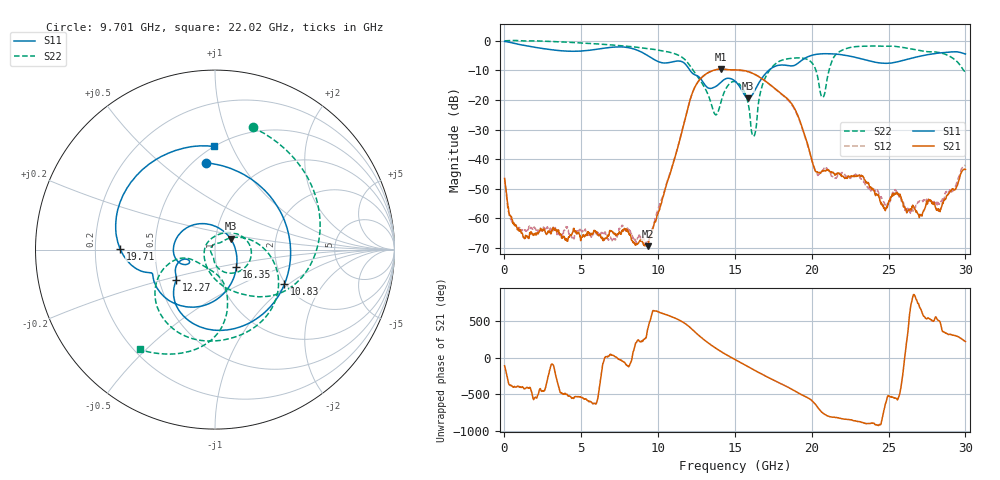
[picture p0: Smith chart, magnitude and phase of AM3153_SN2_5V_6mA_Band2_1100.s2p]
!Agilent Technologies,E8364B,MY43040894,A.07.50.67
!Agilent E8364B: A.07.50.67
!Date: Tuesday, May 12, 2020 09:52:37
!Correction: S11(Full 2 Port(1,2))
!S21(Full 2 Port(1,2))
!S12(Full 2 Port(1,2))
!S22(Full 2 Port(1,2))
!S2P File: Measurements: S11, S21, S12, S22:
# Hz S  dB  R 50
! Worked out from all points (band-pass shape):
!   1601 points, 10 MHz to 30 GHz, reference 50 ohm
!   highest |S21| = -9.63 dB at 14.11 GHz (marker M1); lowest = -69.3 dB at 9.326 GHz (marker M2)
!   |S21| within 3 dB of the highest: 12.8 GHz to 16.7 GHz (3.905 GHz wide, 26.5 % of centre)
!   lowest |S11| = -19.5 dB at 15.87 GHz (marker M3), VSWR 1.24, Z = 59 + j7.25 ohm
!   |S11| at or under -10 dB: 12.07 GHz to 17.21 GHz (5.134 GHz wide, 35.1 % of centre)
!   |S22| runs from -32.3 to 0.1 dB; largest |S21 - S12| = 0.0094
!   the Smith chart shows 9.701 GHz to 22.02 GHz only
!   S11 on the Smith chart (normalised r, x): 9.701 GHz: 0.57, +0.72; 10.83 GHz: 1.97, -0.93; 12.27 GHz: 0.61, -0.23; 16.35 GHz: 1.24, -0.25; 19.71 GHz: 0.31, +0.01; 22.02 GHz: 0.50, +0.86
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1e7  -0.29 -6.2  -46.48 -110.3  -46.55 55.4  -0.07 -2.0
1.115881e9  -1.46 -83.4  -64.88 -42.5  -63.99 -55.9  -0.06 -32.8
2.465431e9  -2.65 -165.6  -63.89 -93.5  -64.04 -50.3  -0.17 -72.1
5.014581e9  -3.51 54.1  -66.44 175.0  -63.40 159.9  -0.78 -143.7
7.395038e9  -2.12 -88.8  -65.09 -15.1  -65.41 -7.9  -1.65 149.0
9.325644e9  -5.06 131.4  -69.33 37.1  -67.79 -53.0  -2.71 86.7
9.700519e9  -6.26 96.1  -62.79 -76.5  -62.37 -74.5  -2.95 72.8
1.001916e10  -7.10 62.7  -57.93 -94.0  -56.50 -98.9  -3.20 60.4
1.082514e10  -7.28 -26.5  -44.10 -156.4  -43.86 -155.2  -4.02 25.5
1.226841e10  -11.17 -141.8  -17.13 16.8  -17.15 15.2  -9.93 -53.5
1.41053e10  -13.98 -156.1  -9.63 82.0  -9.57 81.4  -20.41 69.1
1.5005e10  -13.65 149.0  -9.88 -24.5  -9.96 -25.9  -13.82 -16.2
1.586721e10  -19.51 35.1  -10.44 -124.6  -10.55 -124.5  -21.34 -87.3
1.635455e10  -16.18 -39.5  -11.53 179.1  -11.52 179.1  -30.17 91.0
1.731048e10  -9.56 -106.7  -14.97 75.3  -14.98 74.0  -9.61 -11.1
1.970968e10  -5.52 179.4  -34.61 175.6  -35.02 176.3  -6.34 -126.1
2.000958e10  -4.95 167.8  -40.47 132.7  -40.17 134.0  -7.48 -142.2
2.072184e10  -4.44 140.5  -43.78 -35.5  -43.66 -33.6  -19.16 -118.0
2.201516e10  -4.81 90.6  -45.80 -116.8  -44.70 -112.9  -3.14 -127.1
2.501416e10  -7.63 -72.9  -54.23 -167.5  -54.81 -149.0  -1.85 135.2
2.715095e10  -5.14 171.2  -58.98 -83.9  -54.16 66.3  -3.47 80.8
3e10  -4.50 84.1  -43.46 -138.6  -42.02 -140.2  -10.67 -9.6
